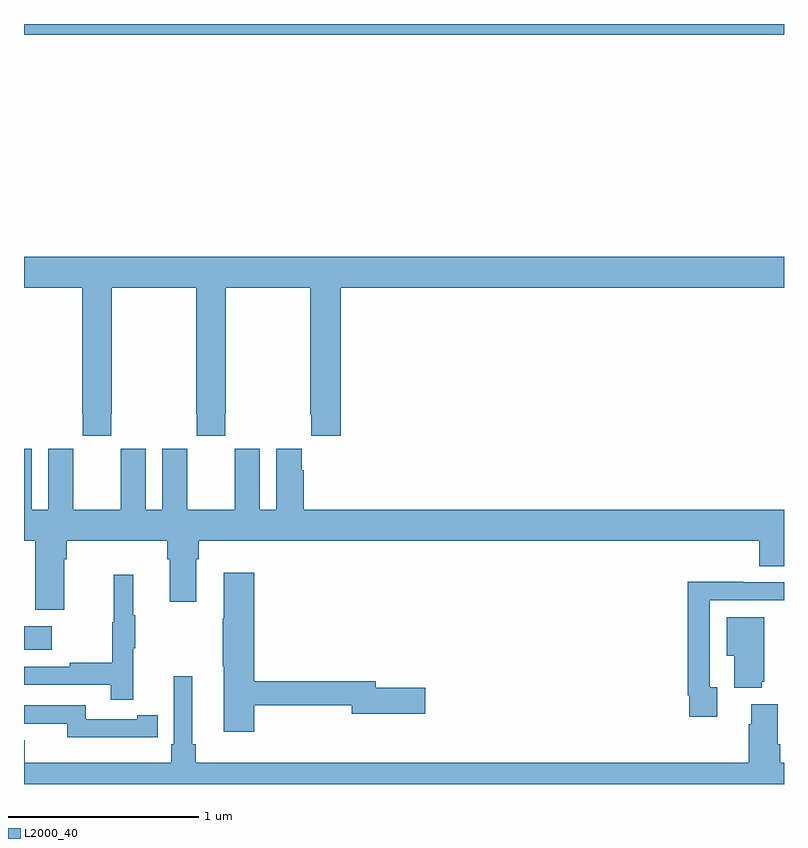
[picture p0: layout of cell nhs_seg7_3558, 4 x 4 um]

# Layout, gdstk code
import gdstk
lib = gdstk.Library(unit=1e-6, precision=1e-09)
def R(c, l, rs):  # rectangles x0, y0, x1, y1
    for r in rs: c.add(gdstk.rectangle(r[:2], r[2:], *l))
def P(c, l, *ps):  # polygons
    for p in ps: c.add(gdstk.Polygon(p, *l))
L2000_40 = (2000, 40)

nhs_seg7_3558 = lib.new_cell('nhs_seg7_3558')
R(nhs_seg7_3558, L2000_40, [(339,1002.707,339.145,1002.829), (339,1005.944,343,1006)])
P(nhs_seg7_3558, L2000_40, [(339.459,1003.945),(339.462,1003.945),(339.462,1004.612),(339.907,1004.612),(339.907,1003.945),(339.909,1003.945),(339.909,1003.833),(340.059,1003.833),(340.059,1003.945),(340.062,1003.945),(340.062,1004.612),(340.507,1004.612),(340.507,1003.945),(340.513,1003.945),(340.513,1003.833),(340.667,1003.833),(340.667,1004.612),(343,1004.612),(343,1004.776),(339,1004.776),(339,1004.612),(339.307,1004.612),(339.307,1003.945),(339.309,1003.945),(339.309,1003.833),(339.459,1003.833)],
  [(339.211,1003.184),(339.224,1003.184),(339.224,1003.28),(339.755,1003.28),(339.755,1003.184),(339.767,1003.184),(339.767,1002.96),(339.907,1002.96),(339.907,1003.184),(339.92,1003.184),(339.92,1003.28),(342.869,1003.28),(342.869,1003.147),(343,1003.147),(343,1003.444),(340.472,1003.444),(340.472,1003.652),(340.462,1003.652),(340.462,1003.765),(340.328,1003.765),(340.328,1003.444),(340.24,1003.444),(340.24,1003.765),(340.11,1003.765),(340.11,1003.652),(340.109,1003.652),(340.109,1003.444),(339.859,1003.444),(339.859,1003.652),(339.858,1003.652),(339.858,1003.765),(339.728,1003.765),(339.728,1003.444),(339.64,1003.444),(339.64,1003.765),(339.51,1003.765),(339.51,1003.652),(339.509,1003.652),(339.509,1003.444),(339.259,1003.444),(339.259,1003.652),(339.258,1003.652),(339.258,1003.765),(339.128,1003.765),(339.128,1003.444),(339.04,1003.444),(339.04,1003.765),(339,1003.765),(339,1003.28),(339.059,1003.28),(339.059,1002.918),(339.211,1002.918)],
  [(340.211,1002.414),(340.724,1002.414),(340.724,1002.371),(341.113,1002.371),(341.113,1002.506),(340.852,1002.506),(340.852,1002.542),(340.211,1002.542),(340.211,1003.111),(340.052,1003.111),(340.052,1002.872),(340.045,1002.872),(340.045,1002.619),(340.052,1002.619),(340.052,1002.276),(340.211,1002.276)],
  [(339.575,1002.715),(339.586,1002.715),(339.586,1002.889),(339.575,1002.889),(339.575,1003.102),(339.472,1003.102),(339.472,1002.852),(339.465,1002.852),(339.465,1002.638),(339.241,1002.638),(339.241,1002.618),(339,1002.618),(339,1002.522),(339.457,1002.522),(339.457,1002.444),(339.575,1002.444)],
  [(342.649,1002.51),(342.609,1002.51),(342.609,1002.966),(343,1002.966),(343,1003.062),(342.785,1003.062),(342.785,1003.064),(342.493,1003.064),(342.493,1002.466),(342.501,1002.466),(342.501,1002.354),(342.649,1002.354)],
  [(342.884,1002.537),(342.895,1002.537),(342.895,1002.877),(342.698,1002.877),(342.698,1002.674),(342.737,1002.674),(342.737,1002.506),(342.884,1002.506)],
  [(343,1002.112),(342.98,1002.112),(342.98,1002.208),(342.967,1002.208),(342.967,1002.421),(342.827,1002.421),(342.827,1002.314),(342.815,1002.314),(342.815,1002.112),(339.905,1002.112),(339.905,1002.208),(339.886,1002.208),(339.886,1002.568),(339.789,1002.568),(339.789,1002.208),(339.776,1002.208),(339.776,1002.112),(339.004,1002.112),(339.004,1002.229),(339,1002.229),(339,1002),(343,1002)],
  [(339.596,1002.246),(339.704,1002.246),(339.704,1002.362),(339.596,1002.362),(339.596,1002.342),(339.324,1002.342),(339.324,1002.414),(339,1002.414),(339,1002.318),(339.228,1002.318),(339.228,1002.245),(339.596,1002.245)])

lib.write_gds('nhs_seg7_3558.gds')
